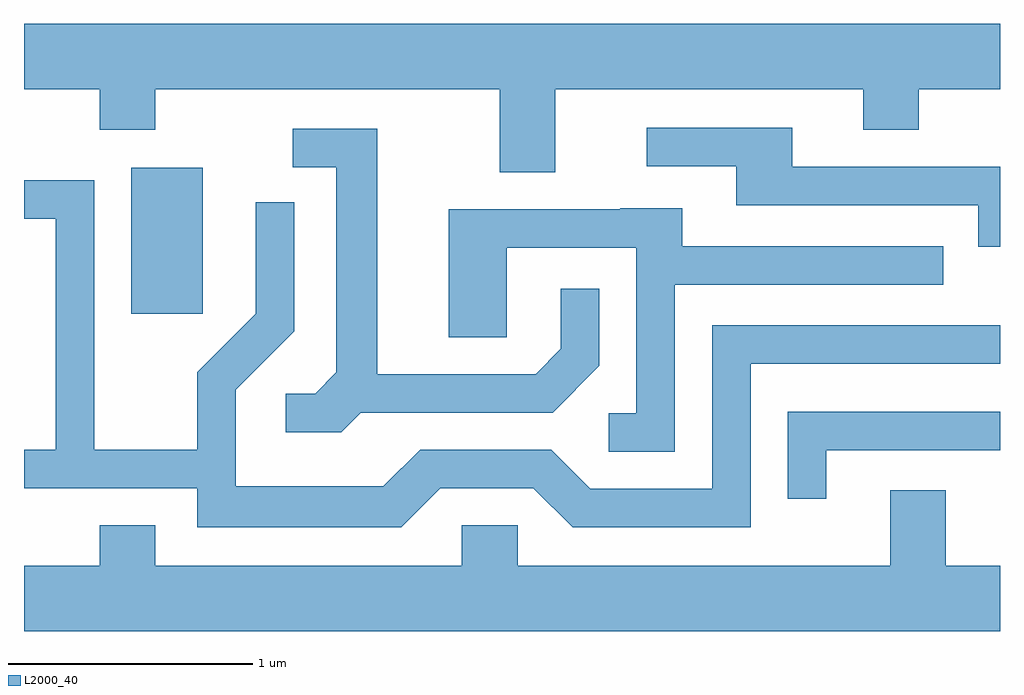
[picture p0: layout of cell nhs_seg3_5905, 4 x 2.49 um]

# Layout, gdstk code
import gdstk
lib = gdstk.Library(unit=1e-6, precision=1e-09)
def R(c, l, rs):  # rectangles x0, y0, x1, y1
    for r in rs: c.add(gdstk.rectangle(r[:2], r[2:], *l))
def P(c, l, *ps):  # polygons
    for p in ps: c.add(gdstk.Polygon(p, *l))
L2000_40 = (2000, 40)

nhs_seg3_5905 = lib.new_cell('nhs_seg3_5905')
R(nhs_seg3_5905, L2000_40, [(358.051,1240.536,358.344,1241.134)])
P(nhs_seg3_5905, L2000_40, [(359.789,1241.456),(361.051,1241.456),(361.051,1241.291),(361.279,1241.291),(361.279,1241.456),(361.611,1241.456),(361.611,1241.724),(357.611,1241.724),(357.611,1241.456),(357.921,1241.456),(357.921,1241.291),(358.149,1241.291),(358.149,1241.456),(359.561,1241.456),(359.561,1241.116),(359.789,1241.116)],
  [(361.611,1241.139),(360.759,1241.139),(360.759,1241.299),(360.163,1241.299),(360.163,1241.141),(360.531,1241.141),(360.531,1240.981),(361.521,1240.981),(361.521,1240.811),(361.611,1240.811)],
  [(358.992,1240.131),(359.777,1240.131),(359.969,1240.324),(359.969,1240.638),(359.811,1240.638),(359.811,1240.392),(359.709,1240.289),(359.059,1240.289),(359.059,1241.294),(358.713,1241.294),(358.713,1241.136),(358.891,1241.136),(358.891,1240.297),(358.804,1240.209),(358.683,1240.209),(358.683,1240.051),(358.912,1240.051)],
  [(359.317,1239.821),(359.699,1239.821),(359.859,1239.661),(360.589,1239.661),(360.589,1240.331),(361.611,1240.331),(361.611,1240.489),(360.431,1240.489),(360.431,1239.819),(359.932,1239.819),(359.772,1239.979),(359.234,1239.979),(359.084,1239.829),(358.479,1239.829),(358.479,1240.224),(358.719,1240.464),(358.719,1240.993),(358.561,1240.993),(358.561,1240.537),(358.321,1240.297),(358.321,1239.979),(357.899,1239.979),(357.899,1241.084),(357.611,1241.084),(357.611,1240.926),(357.741,1240.926),(357.741,1239.979),(357.611,1239.979),(357.611,1239.821),(358.321,1239.821),(358.321,1239.661),(359.157,1239.661)],
  [(360.279,1240.656),(361.378,1240.656),(361.378,1240.814),(360.309,1240.814),(360.309,1240.969),(360.055,1240.969),(360.055,1240.964),(359.351,1240.964),(359.351,1240.441),(359.589,1240.441),(359.589,1240.806),(360.121,1240.806),(360.121,1240.129),(360.008,1240.129),(360.008,1239.971),(360.279,1239.971)],
  [(360.899,1239.976),(361.611,1239.976),(361.611,1240.134),(360.741,1240.134),(360.741,1239.778),(360.899,1239.778)],
  [(361.611,1239.504),(361.389,1239.504),(361.389,1239.814),(361.161,1239.814),(361.161,1239.504),(359.634,1239.504),(359.634,1239.669),(359.406,1239.669),(359.406,1239.504),(358.149,1239.504),(358.149,1239.669),(357.921,1239.669),(357.921,1239.504),(357.611,1239.504),(357.611,1239.236),(361.611,1239.236)])

lib.write_gds('nhs_seg3_5905.gds')
